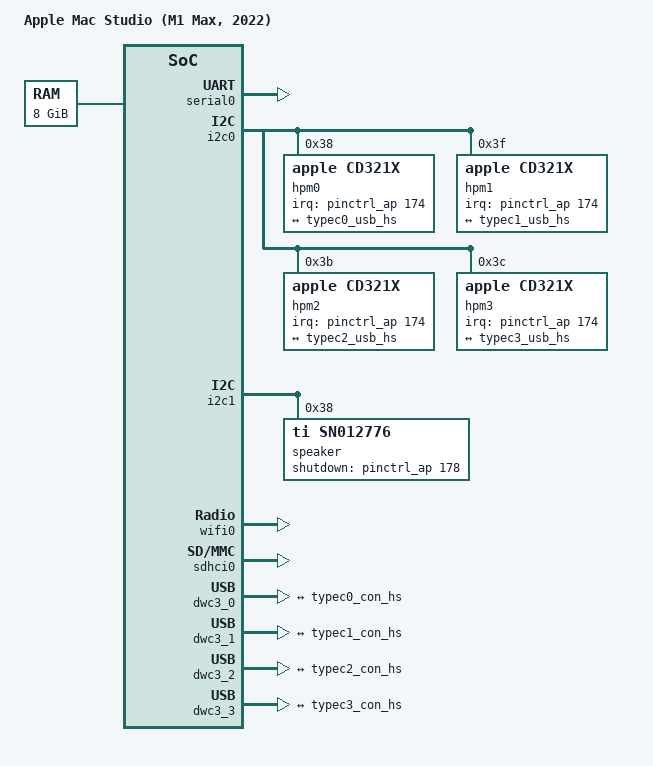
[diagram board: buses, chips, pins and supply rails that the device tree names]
// SPDX-License-Identifier: GPL-2.0+ OR MIT
/*
 * Mac Studio (M1 Max, 2022)
 *
 * target-type: J375c
 *
 * Copyright The Asahi Linux Contributors
 */

/dts-v1/;

#include "t6001.dtsi"

/ {
	compatible = "apple,j375c", "apple,t6001", "apple,arm-platform";
	model = "Apple Mac Studio (M1 Max, 2022)";

	aliases {
		serial0 = &serial0;
		wifi0 = &wifi0;
		bluetooth0 = &bluetooth0;
	};

	chosen {
		#address-cells = <2>;
		#size-cells = <2>;
		ranges;

		stdout-path = "serial0";

		framebuffer0: framebuffer@0 {
			compatible = "apple,simple-framebuffer", "simple-framebuffer";
			reg = <0 0 0 0>; /* To be filled by loader */
			/* Format properties will be added by loader */
			status = "disabled";
		};
	};

	memory@10000000000 {
		device_type = "memory";
		reg = <0x100 0 0x2 0>; /* To be filled by loader */
	};
};

&serial0 {
	status = "okay";
};

/* USB Type C */
&i2c0 {
	hpm0: usb-pd@38 {
		compatible = "apple,cd321x";
		reg = <0x38>;
		interrupt-parent = <&pinctrl_ap>;
		interrupts = <174 IRQ_TYPE_LEVEL_LOW>;
		interrupt-names = "irq";

		typec0: connector {
			compatible = "usb-c-connector";
			label = "USB-C Back Left";
			power-role = "dual";
			data-role = "dual";

			ports {
				#address-cells = <1>;
				#size-cells = <0>;
				port@0 {
					reg = <0>;
					typec0_con_hs: endpoint {
						remote-endpoint = <&typec0_usb_hs>;
					};
				};
			};
		};
	};

	hpm1: usb-pd@3f {
		compatible = "apple,cd321x";
		reg = <0x3f>;
		interrupt-parent = <&pinctrl_ap>;
		interrupts = <174 IRQ_TYPE_LEVEL_LOW>;
		interrupt-names = "irq";

		typec1: connector {
			compatible = "usb-c-connector";
			label = "USB-C Back Left Middle";
			power-role = "dual";
			data-role = "dual";

			ports {
				#address-cells = <1>;
				#size-cells = <0>;
				port@0 {
					reg = <0>;
					typec1_con_hs: endpoint {
						remote-endpoint = <&typec1_usb_hs>;
					};
				};
			};
		};
	};

	hpm2: usb-pd@3b {
		compatible = "apple,cd321x";
		reg = <0x3b>;
		interrupt-parent = <&pinctrl_ap>;
		interrupts = <174 IRQ_TYPE_LEVEL_LOW>;
		interrupt-names = "irq";

		typec2: connector {
			compatible = "usb-c-connector";
			label = "USB-C Back Right Middle";
			power-role = "dual";
			data-role = "dual";

			ports {
				#address-cells = <1>;
				#size-cells = <0>;
				port@0 {
					reg = <0>;
					typec2_con_hs: endpoint {
						remote-endpoint = <&typec2_usb_hs>;
					};
				};
			};
		};
	};

	hpm3: usb-pd@3c {
		compatible = "apple,cd321x";
		reg = <0x3c>;
		interrupt-parent = <&pinctrl_ap>;
		interrupts = <174 IRQ_TYPE_LEVEL_LOW>;
		interrupt-names = "irq";

		typec3: connector {
			compatible = "usb-c-connector";
			label = "USB-C Back Right";
			power-role = "dual";
			data-role = "dual";

			ports {
				#address-cells = <1>;
				#size-cells = <0>;
				port@0 {
					reg = <0>;
					typec3_con_hs: endpoint {
						remote-endpoint = <&typec3_usb_hs>;
					};
				};
			};
		};
	};
};

/* Audio */
&i2c1 {
	status = "okay";

	speaker: codec@38 {
		compatible = "ti,sn012776", "ti,tas2764";
		reg = <0x38>;
		shutdown-gpios = <&pinctrl_ap 178 GPIO_ACTIVE_HIGH>;
		#sound-dai-cells = <0>;
	};
};

/* PCIe devices */
&port00 {
	/* WLAN */
	bus-range = <1 1>;
	pwren-gpios = <&smc_gpio 13 GPIO_ACTIVE_HIGH>;
	wifi0: wifi@0,0 {
		compatible = "pci14e4,4433";
		reg = <0x10000 0x0 0x0 0x0 0x0>;
		/* To be filled by the loader */
		local-mac-address = [00 10 18 00 00 10];
		apple,antenna-sku = "XX";
	};

	bluetooth0: network@0,1 {
		compatible = "pci14e4,5f71";
		reg = <0x10100 0x0 0x0 0x0 0x0>;
		/* To be filled by the loader */
		local-bd-address = [00 00 00 00 00 00];
	};
};

&port01 {
	/* SD card reader */
	bus-range = <2 2>;
	pwren-gpios = <&smc_gpio 26 GPIO_ACTIVE_HIGH>;
	sdhci0: mmc@0,0 {
		compatible = "pci17a0,9755";
		reg = <0x20000 0x0 0x0 0x0 0x0>;
		cd-inverted;
		wp-inverted;
	};
};

&port02 {
	/* 10 Gbit Ethernet */
	bus-range = <3 3>;
	ethernet0: ethernet@0,0 {
		reg = <0x30000 0x0 0x0 0x0 0x0>;
		/* To be filled by the loader */
		local-mac-address = [00 10 18 00 00 00];
	};
};

&port03 {
	/* USB xHCI */
	bus-range = <4 4>;
	pwren-gpios = <&smc_gpio 20 GPIO_ACTIVE_HIGH>;
};

&wifi0 {
	brcm,board-type = "apple,okinawa";
};

&bluetooth0 {
	brcm,board-type = "apple,okinawa";
};

/* USB controllers */
&dwc3_0 {
	port {
		typec0_usb_hs: endpoint {
			remote-endpoint = <&typec0_con_hs>;
		};
	};
};

&dwc3_1 {
	port {
		typec1_usb_hs: endpoint {
			remote-endpoint = <&typec1_con_hs>;
		};
	};
};

&dwc3_2 {
	port {
		typec2_usb_hs: endpoint {
			remote-endpoint = <&typec2_con_hs>;
		};
	};
};

&dwc3_3 {
	port {
		typec3_usb_hs: endpoint {
			remote-endpoint = <&typec3_con_hs>;
		};
	};
};

/ {
	sound {
		compatible = "apple,j375-macaudio", "apple,macaudio";
		model = "Mac Studio J375 integrated audio";

		/*
		 * DANGER ZONE: You can blow your speakers!
		 *
		 * The drivers are not ready, and unless you are careful
		 * to attenuate the audio stream, you run the risk of
		 * blowing your speakers.
		 */
		status = "disabled";

		dai-link@0 {
			link-name = "Speaker";
			mclk-fs = <64>;

			cpu {
				sound-dai = <&mca 0>;
			};
			codec {
				sound-dai = <&speaker>;
			};
		};
	};
};
